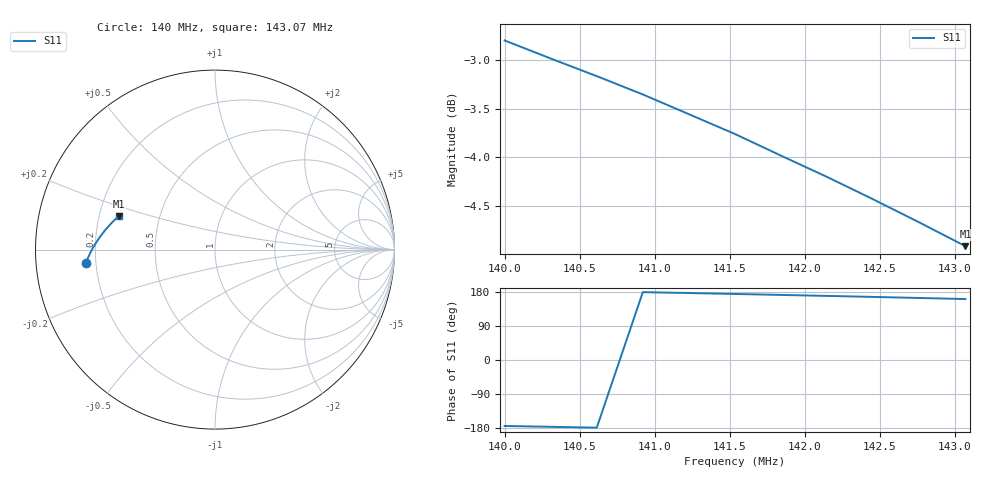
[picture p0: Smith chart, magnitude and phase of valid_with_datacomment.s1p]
# Hz S RI R 50
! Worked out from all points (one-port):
!   11 points, 140 MHz to 143.07 MHz, reference 50 ohm
!   lowest |S11| = -4.9 dB at 143.07 MHz (marker M1), VSWR 3.63, Z = 14.1 + j7.78 ohm
!   |S11| at or under -10 dB: nowhere
1.4e8  -0.7205 -0.0745
1.403072e8  -0.7076 -0.0457
1.406145e8  -0.6942 -0.0172
1.409217e8  -0.6795 0.0111
1.412289e8  -0.6628 0.0379
1.415362e8  -0.6452 0.065
1.418434e8  -0.6255 0.0909
1.421506e8  -0.6053 0.1165
1.424579e8  -0.5837 0.1403
1.427651e8  -0.5606 0.164
1.430723e8  -0.5365 0.1864
